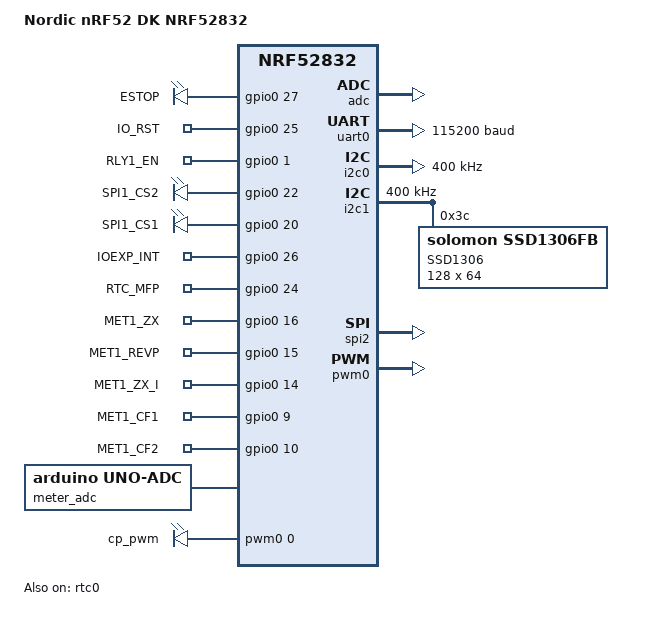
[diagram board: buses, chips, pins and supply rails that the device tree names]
/*
 * Copyright (c) 2017 Shawn Nock <shawn@monadnock.ca>
 * Copyright (c) 2017 Linaro Limited
 *
 * SPDX-License-Identifier: Apache-2.0
 */

 /dts-v1/;
 #include <nordic/nrf52832_qfaa.dtsi>
 #include "nrf52832_charger-pinctrl.dtsi"
 
 / {
	 model = "Nordic nRF52 DK NRF52832";
	 compatible = "nordic,nrf52-dk-nrf52832";
 
	 chosen {
		 zephyr,console = &uart0;
		 zephyr,shell-uart = &uart0;
		 zephyr,uart-mcumgr = &uart0;
		 zephyr,bt-mon-uart = &uart0;
		 zephyr,bt-c2h-uart = &uart0;
		 zephyr,sram = &sram0;
		 zephyr,flash = &flash0;
		 zephyr,code-partition = &slot0_partition;
	 };

	 
gpio_outputs {
	compatible = "gpio-leds";
	ESTOP: op_ESTOP {
		gpios = <&gpio0 27 GPIO_ACTIVE_HIGH>;
		label = "ESTOP";
	};
	IO_RST: op_IO_RST {
		gpios = <&gpio0 25 GPIO_ACTIVE_HIGH>;
		label = "IO_RST";
	};
	RLY1_EN: op_RLY1_EN {
		gpios = <&gpio0 1 GPIO_ACTIVE_HIGH>;
		label = "RLY1_EN";
	};
	SPI1_CS2: op_SPI1_CS2 {
		gpios = <&gpio0 22 GPIO_ACTIVE_HIGH>;
		label = "SPI1_CS2";
	};
	SPI1_CS1: op_SPI1_CS1 {
		gpios = <&gpio0 20 GPIO_ACTIVE_HIGH>;
		label = "SPI1_CS1";
	};
};
	
gpio_inputs {
	compatible = "gpio-keys";//need to change this
	IOEXP_INT: ip_IOEXP_INT {
		gpios = <&gpio0 26 0>;
		label = "IOEXP_INT";
	};
	RTC_MFP: ip_RTC_MFP {
		gpios = <&gpio0 24 0>;
		label = "RTC_MFP";
	};
	MET1_ZX: ip_MET1_ZX {
		gpios = <&gpio0 16 0>;
		label = "MET1_ZX";
	};
	MET1_REVP: ip_MET1_REVP {
		gpios = <&gpio0 15 0>;
		label = "MET1_REVP";
	};
	MET1_ZX_I: ip_MET1_ZX_I {
		gpios = <&gpio0 14 0>;
		label = "MET1_ZX_I";
	};

	MET1_CF1: ip_MET1_CF1 {
		gpios = <&gpio0 9 0>;
		label = "MET1_CF1";
	};

	MET1_CF2: ip_MET1_CF2 {
		gpios = <&gpio0 10 0>;
		label = "MET1_CF2";
	};
	};


	meter_adc: analog-connector {
		compatible = "arduino,uno-adc";
		#io-channel-cells = <1>;
		io-channel-map =
				 <1 &adc 0>,	/* A0 = P0.02 = AIN0 */
				 <2 &adc 1>,	/* A2 = P0.03 = AIN1 */
				 <3 &adc 4>,	/* A2 = P0.28 = AIN4 */
				 <4 &adc 5>,	/* A3 = P0.29 = AIN5 */
				 <5 &adc 6>,	/* A4 = P0.30 = AIN6 */
				 <6 &adc 7>;	/* A5 = P0.31 = AIN7 */
	};

	
pwmleds {
	compatible = "pwm-leds";
	cp_pwm: pwm_led_0 {
		pwms = <&pwm0 0 PWM_MSEC(20) PWM_POLARITY_NORMAL>;
	};
};

/* These aliases are provided for compatibility with samples */
aliases {
	cp-pwm = &cp_pwm;
};
 };
 
 &adc {
	 status = "okay";
 };
 
 &gpiote {
	 status = "okay";
 };
 
 &gpio0 {
	 status = "okay";
 };
 
 &uart0 {
	compatible = "nordic,nrf-uart";
	current-speed = <115200>;
	status = "okay";
	pinctrl-0 = <&uart0_default>;
	pinctrl-1 = <&uart0_sleep>;
	pinctrl-names = "default", "sleep";
};

common_i2c: &i2c0 {
	compatible = "nordic,nrf-twi";
	status = "okay";
	pinctrl-0 = <&i2c0_default>;
	pinctrl-1 = <&i2c0_sleep>;
	pinctrl-names = "default", "sleep";
	clock-frequency = <I2C_BITRATE_FAST>;

};

display_i2c: &i2c1 {
	compatible = "nordic,nrf-twi";
	status = "okay";
	pinctrl-0 = <&i2c1_default>;
	pinctrl-1 = <&i2c1_sleep>;
	pinctrl-names = "default", "sleep";
	clock-frequency = <I2C_BITRATE_FAST>;

	ssd1306@3c {
        compatible = "solomon,ssd1306fb";
        reg = <0x3c>;
        label = "SSD1306";
        width = <128>;
        height = <64>;
        segment-offset = <0>;
        page-offset = <0>;
        display-offset = <0x02>;
        multiplex-ratio = <63>;
        segment-remap;
        com-invdir;
        prechargep = <0x22>;
    };

};

meter_spi:&spi2 {
	compatible = "nordic,nrf-spi";
	status = "okay";
	pinctrl-0 = <&spi2_default>;
	pinctrl-1 = <&spi2_sleep>;
	pinctrl-names = "default", "sleep";
};

&pwm0 {
	status = "okay";
	pinctrl-0 = <&pwm0_default>;
	pinctrl-1 = <&pwm0_sleep>;
	pinctrl-names = "default", "sleep";
};

&rtc0 {
	status = "okay";
};
 &flash0 {
 
	 partitions {
		 compatible = "fixed-partitions";
		 #address-cells = <1>;
		 #size-cells = <1>;
 
		 boot_partition: partition@0 {
			 label = "mcuboot";
			 reg = <0x00000000 0xc000>;
		 };
		 slot0_partition: partition@c000 {
			 label = "image-0";
			 reg = <0x0000C000 0x37000>;
		 };
		 slot1_partition: partition@43000 {
			 label = "image-1";
			 reg = <0x00043000 0x37000>;
		 };
		 storage_partition: partition@7a000 {
			 label = "storage";
			 reg = <0x0007a000 0x00006000>;
		 };
	 };
 };
 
